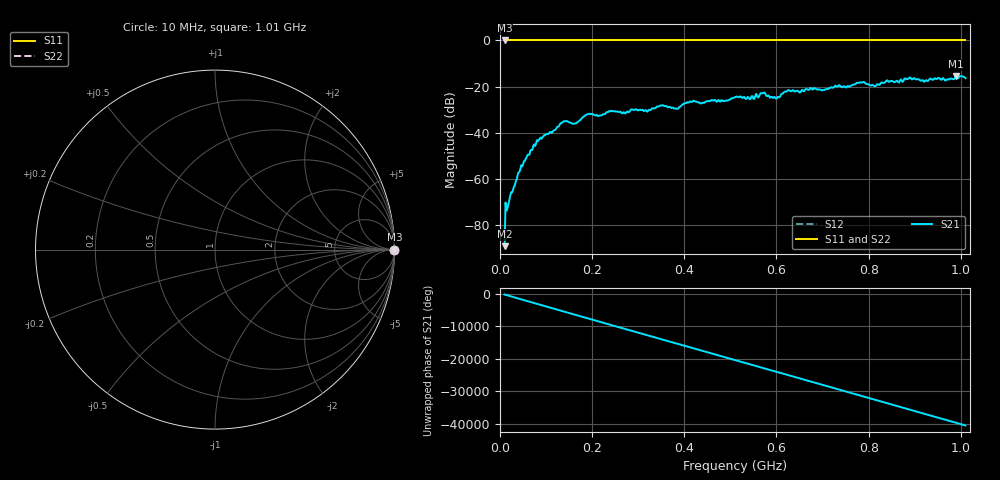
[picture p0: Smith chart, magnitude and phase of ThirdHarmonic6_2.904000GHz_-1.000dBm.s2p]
! 8/17/2025 8:02:05 AM
! C:\ANRITSUVNA\TEMP\TEMP.S2P
! CHANNEL.1
! TR.MEASUREMENT
! RAW.DATA
! RF.CORRECTION.OFF
! AVERAGING.OFF
! IF.BANDWIDTH: 5KHZ
! SWEEPTYPE:  FREQ.SWEEP(Linear)
! Reference Plane Port Info
! PORT:  PORT1  PORT2
! DISTANCE:  0  m  0  m
! TIME:  0  s  0  s
! PHASE.OFFSET:  0  deg.  0  deg.
! LOSS:  0  dB  0  dB
! REF.LOSS:  0  dB  0  dB
! REF.FREQ:  0  Hz  0  Hz
! Power Info
! POWER:  -20  dBm  -20  dBm
! EFF.POWER:  -20  dBm  -20  dBm
! SOURCE.ATTEN:  0  dB  0  dB
! TEST.ATTEN:  0  dB  0  dB
# GHZ S RI R 50.0
! FREQ.GHZ  S11RE  S11IM  S21RE  S21IM  S12RE  S12IM  S22RE  S22IM
!; PortSelection: Port_12
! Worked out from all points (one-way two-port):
!   501 points, 10 MHz to 1.01 GHz, reference 50 ohm
!   highest |S21| = -15.47 dB at 990 MHz (marker M1); lowest = -89.1 dB at 10 MHz (marker M2)
!   lowest |S11| = 0.0 dB at 10 MHz (marker M3)
!   |S11| at or under -10 dB: nowhere
!   |S22| runs from 0.0 to 0.0 dB; largest |S21 - S12| = 1.2
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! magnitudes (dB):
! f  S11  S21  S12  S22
! 10 MHz  0.0  -89.1  0.0  0.0
! 16 MHz  0.0  -73.0  0.0  0.0
! 42 MHz  0.0  -57.0  0.0  0.0
! 76 MHz  0.0  -45.8  0.0  0.0
! 136 MHz  0.0  -35.4  0.0  0.0
! 162 MHz  0.0  -36.0  0.0  0.0
! 178 MHz  0.0  -33.6  0.0  0.0
! 192 MHz  0.0  -31.9  0.0  0.0
! 344 MHz  0.0  -28.6  0.0  0.0
! 382 MHz  0.0  -29.5  0.0  0.0
! 416 MHz  0.0  -26.7  0.0  0.0
! 510 MHz  0.0  -24.6  0.0  0.0
! 548 MHz  0.0  -24.2  0.0  0.0
! 570 MHz  0.0  -22.9  0.0  0.0
! 602 MHz  0.0  -24.6  0.0  0.0
! 624 MHz  0.0  -21.8  0.0  0.0
! 678 MHz  0.0  -21.3  0.0  0.0
! 786 MHz  0.0  -18.3  0.0  0.0
! 812 MHz  0.0  -19.8  0.0  0.0
! 844 MHz  0.0  -17.9  0.0  0.0
! 990 MHz  0.0  -15.5  0.0  0.0
! 1.01 GHz  0.0  -16.3  0.0  0.0
